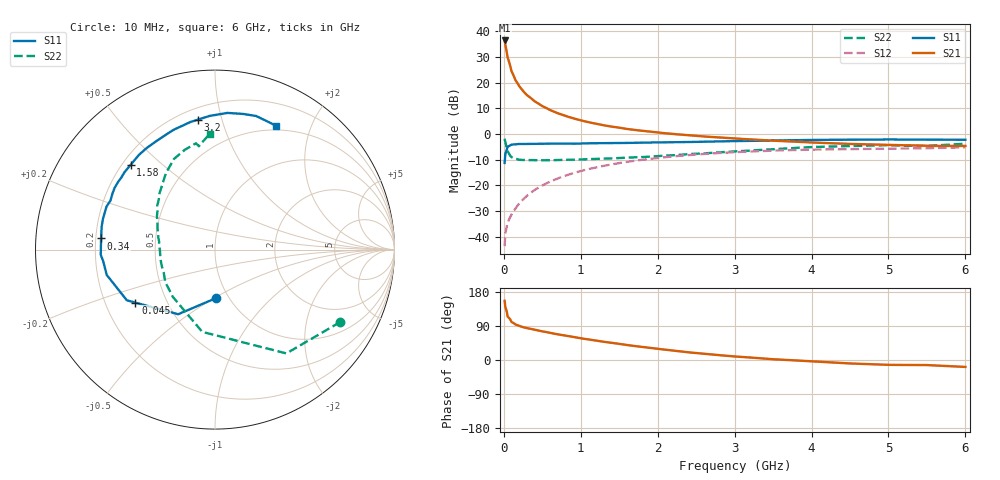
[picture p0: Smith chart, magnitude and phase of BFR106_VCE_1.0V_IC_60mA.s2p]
! Infineon Technologies  Discrete & RF Semiconductors
! BFR106
! VCE =  1.0 V,  IC =  60 mA
! Common Emitter S-Parameters:  Nov 2015
# GHz  S  MA  R  50
!  f  S11  S21  S12  S22
! GHz  MAG  ANG  MAG  ANG  MAG  ANG  MAG  ANG
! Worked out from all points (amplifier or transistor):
!   210 points, 10 MHz to 6 GHz, reference 50 ohm
!   highest |S21| = 36.4 dB at 10 MHz (marker M1)
!   |S21| within 3 dB of that: start of sweep to 28.51 MHz
!   unconditionally stable (mu >= 1): 173.2 MHz to end of sweep
!   at 185 MHz: K = 1.01, MAG = 22.9 dB, |S12| = -27.7 dB
!   at 1.52 GHz: K = 1.08, MAG = 5.1 dB, |S12| = -11.3 dB
!   at 6 GHz: K = 1.03, MAG = -0.8 dB, |S12| = -5.2 dB
!   S11 on the Smith chart (normalised r, x): 10 MHz: 0.87, -0.51; 45 MHz: 0.33, -0.27; 340 MHz: 0.22, +0.05; 1.58 GHz: 0.23, +0.40; 3.2 GHz: 0.27, +0.84; 6 GHz: 0.45, +1.51
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0.01  0.2717 -89.4  66.09 156.1  0.0065 71.8  0.8056 -30.1
0.02  0.4146 -119.7  54.18 138.9  0.0115 60.4  0.7019 -55.5
0.045  0.5329 -146.3  33.83 120.6  0.0174 55.0  0.4783 -89.1
0.05  0.5666 -150.1  30.5 114.2  0.0186 54.3  0.4637 -98.8
0.1  0.6194 -166.8  16.58 100.2  0.0269 59.0  0.3531 -131.6
0.15  0.6255 -173.8  11.23 93.8  0.035 63.5  0.3311 -146.9
0.2  0.6371 -177.4  8.522 89.7  0.044 67.4  0.3135 -155.5
0.26  0.6362 178.4  6.585 86.1  0.0546 68.6  0.3103 -162.9
0.3  0.6374 176.2  5.699 84.0  0.0623 69.7  0.3094 -165.9
0.34  0.6379 174.4  5.143 82.6  0.0696 70.0  0.3081 -168.4
0.4  0.6398 171.8  4.318 79.7  0.0806 70.3  0.3073 -172.2
0.5  0.6443 168.5  3.479 75.6  0.0988 69.8  0.3065 -176.6
0.6  0.6474 164.6  2.923 71.6  0.1172 68.8  0.3066 -179.6
0.8  0.6502 158.3  2.235 64.3  0.1536 66.0  0.313 174.9
1.02  0.652 150.8  1.805 56.8  0.1924 62.5  0.3181 170.1
1.58  0.6662 134.8  1.262 40.1  0.2822 52.2  0.3439 158.8
2.02  0.6823 123.3  1.058 29.1  0.3421 43.9  0.3727 150.3
3.1  0.7266 99.3  0.798 8.0  0.4475 25.0  0.464 129.5
3.2  0.7302 97.5  0.782 6.6  0.4538 23.4  0.4737 127.7
4.1  0.7653 83.5  0.671 -4.6  0.4967 10.3  0.5588 112.8
5.1  0.777 71.9  0.606 -12.9  0.5177 -0.7  0.598 99.9
6  0.7693 63.9  0.583 -18.3  0.5474 -9.1  0.6449 92.7
